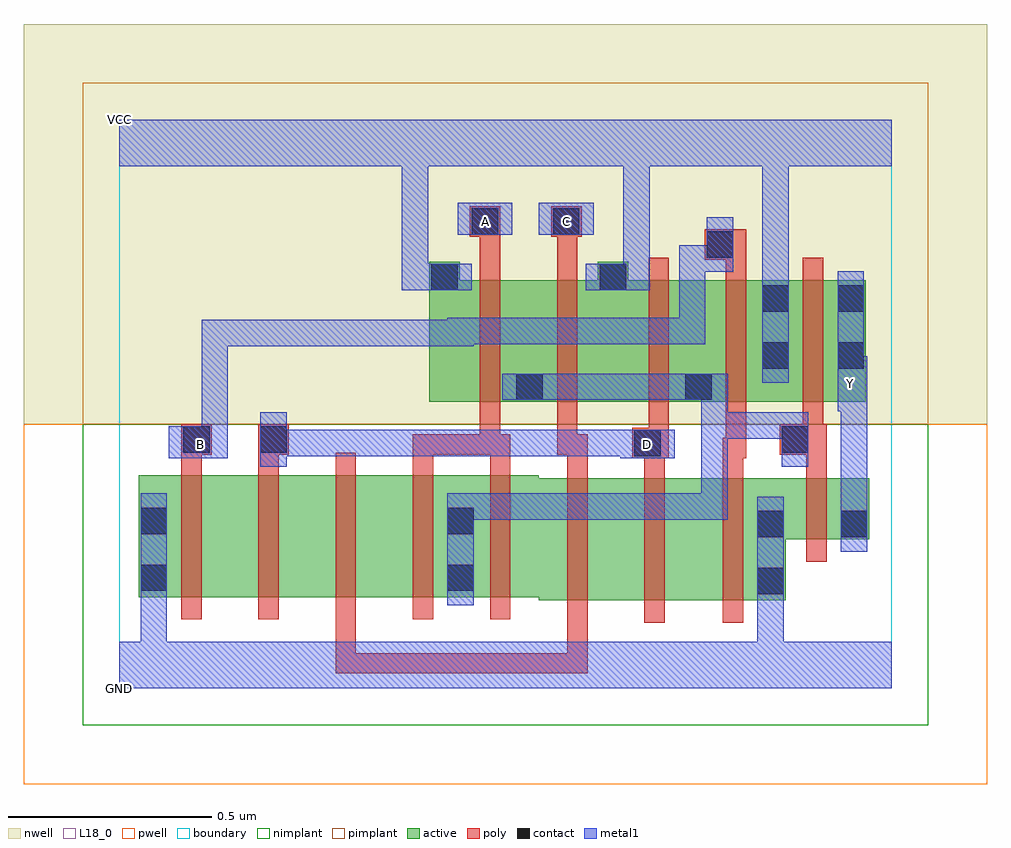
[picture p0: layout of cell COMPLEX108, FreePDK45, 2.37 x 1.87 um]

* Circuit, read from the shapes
.subckt COMPLEX108 A B C D GND VCC Y
M1 n1 B GND VSUBS nfet w=0.3u l=0.05u
M2 n2 D n1 VSUBS nfet w=0.3u l=0.05u
M3 n3 C n2 VSUBS nfet w=0.3u l=0.05u
M4 n4 A n3 VSUBS nfet w=0.3u l=0.05u
M5 n5 A n4 VSUBS nfet w=0.3u l=0.05u
M6 n6 C n5 VSUBS nfet w=0.3u l=0.05u
M7 n7 D n6 VSUBS nfet w=0.3u l=0.05u
M8 GND B n7 VSUBS nfet w=0.3u l=0.05u
M9 Y n4 GND VSUBS nfet w=0.15u l=0.05u
M10 n4 A VCC n8 pfet w=0.3u l=0.05u
M11 VCC C n4 n8 pfet w=0.3u l=0.05u
M12 n4 D VCC n8 pfet w=0.3u l=0.05u
M13 VCC B n4 n8 pfet w=0.3u l=0.05u
M14 Y n4 VCC n8 pfet w=0.3u l=0.05u
.ends

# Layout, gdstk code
import gdstk
lib = gdstk.Library(unit=1e-6, precision=1e-09)
def R(c, l, rs):  # rectangles x0, y0, x1, y1
    for r in rs: c.add(gdstk.rectangle(r[:2], r[2:], *l))
def A(c, l, x, y, w, h, nx, ny, dx, dy):  # array of equal rectangles
    R(c, l, [(x+i*dx, y+j*dy, x+i*dx+w, y+j*dy+h) for i in range(nx) for j in range(ny)])
active = (1, 0)
pwell = (2, 0)
nwell = (3, 0)
nimplant = (4, 0)
pimplant = (5, 0)
poly = (9, 0)
contact = (10, 0)
metal1 = (11, 0)
L18_0 = (18, 0)
boundary = (235, 0)

complex108 = lib.new_cell('COMPLEX108')
R(complex108, active, [(1.032,0.217,1.222,0.517), (1.222,0.217,1.412,0.517), (1.412,0.217,1.64,0.517), (1.565,0.217,1.64,0.442), (0.047,0.225,0.272,0.525), (0.272,0.225,0.462,0.525), (0.462,0.225,0.652,0.525), (0.652,0.225,0.877,0.525), (0.802,0.225,1.032,0.525), (0.802,0.225,0.877,0.517), (0.047,0.235,0.122,0.525), (1.565,0.367,1.845,0.517), (1.77,0.367,1.845,0.517), (0.762,0.705,1.047,1.005), (0.762,0.705,0.837,1.05), (0.972,0.705,1.252,1.005), (0.972,0.705,1.047,0.927), (1.177,0.705,1.462,1.005), (1.387,0.705,1.462,1.005), (1.387,0.705,1.652,1.005), (1.577,0.705,1.652,1.005), (1.577,0.705,1.837,1.005), (1.762,0.705,1.837,1.005), (1.177,0.835,1.252,1.05)])
R(complex108, pwell, [(-0.235,-0.235,2.135,0.65)])
R(complex108, nwell, [(-0.235,0.65,2.135,1.635)])
R(complex108, nimplant, [(-0.09,-0.09,1.99,0.65)])
R(complex108, pimplant, [(-0.09,0.65,1.99,1.49)])
A(complex108, poly, 0.152, 0.17, 0.05, 0.41, 5, 1, 0.19, 0)
A(complex108, poly, 1.302, 0.65, 0.05, 0.41, 3, 1, 0.19, 0)
R(complex108, poly, [(0.532,0.037,0.582,0.087), (0.532,0.037,0.715,0.087), (0.532,0.037,0.582,0.22), (0.665,0.037,0.715,0.087), (0.665,0.037,0.715,0.087), (0.665,0.037,0.715,0.087), (0.665,0.037,0.98,0.087), (0.93,0.037,0.98,0.087), (0.93,0.037,0.98,0.087), (0.93,0.037,0.98,0.087), (0.93,0.037,1.152,0.087), (1.102,0.037,1.152,0.212), (1.102,0.037,1.152,0.087), (1.102,0.037,1.152,0.087), (1.102,0.037,1.152,0.087), (1.102,0.162,1.152,0.572), (1.292,0.162,1.342,0.572), (1.485,0.162,1.535,0.572), (1.69,0.312,1.74,0.572), (1.102,0.522,1.152,0.625), (1.292,0.522,1.342,0.617), (1.485,0.522,1.535,0.617), (1.69,0.522,1.74,0.625), (0.152,0.53,0.202,0.625), (0.342,0.53,0.392,0.625), (0.722,0.53,0.772,0.625), (0.912,0.53,0.962,0.625), (1.262,0.567,1.352,0.642), (1.485,0.567,1.542,0.617), (1.492,0.567,1.542,0.7), (0.152,0.575,0.227,0.65), (0.342,0.575,0.417,0.65), (0.722,0.575,0.772,0.625), (0.722,0.575,0.937,0.625), (0.887,0.575,0.937,0.7), (0.887,0.575,0.962,0.625), (0.887,0.575,0.937,0.625), (0.887,0.575,0.937,0.625), (1.077,0.575,1.127,0.7), (1.077,0.575,1.152,0.625), (1.625,0.575,1.74,0.65), (1.302,0.592,1.352,0.7), (1.682,0.6,1.732,0.7), (0.887,0.65,0.937,1.06), (1.077,0.65,1.127,1.06), (0.887,1.01,0.937,1.162), (1.077,1.01,1.127,1.162), (1.492,1.01,1.542,1.105), (1.44,1.055,1.542,1.13), (0.862,1.112,0.937,1.187), (1.062,1.112,1.137,1.187)])
R(complex108, contact, [(1.57,0.232,1.635,0.297), (0.052,0.24,0.117,0.305), (0.807,0.24,0.872,0.305), (1.57,0.372,1.635,0.437), (1.775,0.372,1.84,0.437), (0.052,0.38,0.117,0.445), (0.807,0.38,0.872,0.445), (1.267,0.572,1.332,0.637), (0.157,0.58,0.222,0.645), (0.347,0.58,0.412,0.645), (1.63,0.58,1.695,0.645), (0.977,0.71,1.042,0.775), (1.392,0.71,1.457,0.775), (1.582,0.787,1.647,0.852), (1.767,0.787,1.832,0.852), (1.582,0.927,1.647,0.992), (1.767,0.927,1.832,0.992), (0.767,0.98,0.832,1.045), (1.182,0.98,1.247,1.045), (1.445,1.06,1.51,1.125), (0.867,1.117,0.932,1.182), (1.067,1.117,1.132,1.182)])
R(complex108, metal1, [(0,0,1.9,0.115), (0.052,0.05,0.117,0.115), (0.052,0.05,0.117,0.115), (0.052,0.05,0.117,0.27), (1.57,0.05,1.635,0.115), (1.57,0.05,1.635,0.115), (1.57,0.05,1.635,0.262), (1.57,0.197,1.635,0.262), (1.57,0.197,1.635,0.262), (1.57,0.197,1.635,0.472), (0.052,0.205,0.117,0.27), (0.052,0.205,0.117,0.27), (0.052,0.205,0.117,0.48), (0.807,0.205,0.872,0.48), (1.775,0.337,1.84,0.472), (1.775,0.407,1.84,0.747), (0.807,0.415,0.872,0.48), (0.807,0.415,0.872,0.48), (0.807,0.415,1.01,0.48), (0.945,0.415,1.01,0.48), (0.945,0.415,1.01,0.48), (0.945,0.415,1.01,0.48), (0.945,0.415,1.215,0.48), (1.15,0.415,1.215,0.48), (1.15,0.415,1.372,0.48), (1.307,0.415,1.372,0.48), (1.307,0.415,1.497,0.48), (1.432,0.415,1.497,0.48), (1.432,0.415,1.497,0.68), (0.347,0.545,0.412,0.68), (1.63,0.545,1.695,0.68), (0.122,0.567,0.267,0.645), (1.232,0.567,1.367,0.637), (0.347,0.572,0.412,0.637), (0.347,0.572,0.412,0.637), (0.347,0.572,0.55,0.637), (0.485,0.572,0.55,0.637), (0.485,0.572,0.55,0.637), (0.485,0.572,0.55,0.637), (0.485,0.572,0.687,0.637), (0.622,0.572,0.687,0.637), (0.622,0.572,0.825,0.637), (0.76,0.572,0.825,0.637), (0.76,0.572,0.825,0.637), (0.76,0.572,0.825,0.637), (0.76,0.572,1.075,0.637), (1.01,0.572,1.075,0.637), (1.01,0.572,1.075,0.637), (1.01,0.572,1.075,0.637), (1.01,0.572,1.215,0.637), (1.15,0.572,1.215,0.637), (1.15,0.572,1.297,0.637), (0.202,0.58,0.267,0.645), (0.202,0.58,0.267,0.645), (0.202,0.58,0.267,0.907), (1.432,0.615,1.497,0.68), (1.432,0.615,1.51,0.68), (1.432,0.615,1.497,0.775), (1.445,0.615,1.51,0.68), (1.445,0.615,1.695,0.68), (1.63,0.615,1.695,0.68), (1.63,0.615,1.695,0.68), (1.767,0.682,1.84,0.817), (0.942,0.71,1.077,0.775), (1.012,0.71,1.077,0.775), (1.012,0.71,1.077,0.775), (1.012,0.71,1.215,0.775), (1.15,0.71,1.215,0.775), (1.15,0.71,1.372,0.775), (1.307,0.71,1.372,0.775), (1.307,0.71,1.422,0.775), (1.357,0.71,1.497,0.775), (1.582,0.752,1.647,1.027), (1.767,0.752,1.832,0.817), (1.767,0.752,1.832,1.027), (0.202,0.842,0.267,0.907), (0.202,0.842,0.412,0.907), (0.347,0.842,0.412,0.907), (0.347,0.842,0.412,0.907), (0.347,0.842,0.412,0.907), (0.347,0.842,0.55,0.907), (0.485,0.842,0.55,0.907), (0.485,0.842,0.55,0.907), (0.485,0.842,0.55,0.907), (0.485,0.842,0.687,0.907), (0.622,0.842,0.687,0.907), (0.622,0.842,0.687,0.907), (0.622,0.842,0.687,0.907), (0.622,0.842,0.687,0.907), (0.622,0.842,0.687,0.907), (0.622,0.842,0.872,0.907), (0.807,0.842,0.872,0.912), (0.807,0.847,1.01,0.912), (0.945,0.847,1.01,0.912), (0.945,0.847,1.01,0.912), (0.945,0.847,1.01,0.912), (0.945,0.847,1.272,0.912), (1.207,0.847,1.272,0.912), (1.207,0.847,1.322,0.912), (1.257,0.847,1.322,0.912), (1.257,0.847,1.442,0.912), (1.377,0.847,1.442,0.912), (1.377,0.847,1.442,1.09), (1.582,0.962,1.647,1.35), (0.695,0.98,0.76,1.35), (0.695,0.98,0.867,1.045), (1.147,0.98,1.305,1.045), (1.24,0.98,1.305,1.35), (1.377,1.025,1.442,1.09), (1.377,1.025,1.442,1.09), (1.377,1.025,1.442,1.09), (1.377,1.025,1.51,1.09), (1.445,1.025,1.51,1.16), (0.832,1.117,0.967,1.195), (1.032,1.117,1.167,1.195), (0,1.285,1.9,1.4), (0.695,1.285,0.76,1.35), (0.695,1.285,0.76,1.35), (0.695,1.285,0.76,1.35), (0.695,1.285,0.76,1.35), (1.24,1.285,1.305,1.35), (1.24,1.285,1.305,1.35), (1.24,1.285,1.305,1.35), (1.24,1.285,1.305,1.35), (1.582,1.285,1.647,1.35), (1.582,1.285,1.647,1.35), (1.582,1.285,1.647,1.35), (1.582,1.285,1.647,1.35)])
R(complex108, L18_0, [(0,0,1.9,0.115), (0.052,0.05,0.117,0.115), (0.052,0.05,0.117,0.115), (0.052,0.05,0.117,0.27), (1.57,0.05,1.635,0.115), (1.57,0.05,1.635,0.115), (1.57,0.05,1.635,0.262), (1.57,0.197,1.635,0.262), (1.57,0.197,1.635,0.262), (1.57,0.197,1.635,0.472), (0.052,0.205,0.117,0.27), (0.052,0.205,0.117,0.27), (0.052,0.205,0.117,0.48), (1.775,0.337,1.84,0.472), (1.775,0.407,1.84,0.747), (0.347,0.545,0.412,0.68), (0.122,0.567,0.267,0.645), (0.167,0.567,0.232,0.632), (1.232,0.567,1.367,0.637), (1.267,0.567,1.332,0.632), (0.347,0.572,0.412,0.637), (0.347,0.572,0.412,0.637), (0.347,0.572,0.55,0.637), (0.485,0.572,0.55,0.637), (0.485,0.572,0.55,0.637), (0.485,0.572,0.55,0.637), (0.485,0.572,0.687,0.637), (0.622,0.572,0.687,0.637), (0.622,0.572,0.825,0.637), (0.76,0.572,0.825,0.637), (0.76,0.572,0.825,0.637), (0.76,0.572,0.825,0.637), (0.76,0.572,1.075,0.637), (1.01,0.572,1.075,0.637), (1.01,0.572,1.075,0.637), (1.01,0.572,1.075,0.637), (1.01,0.572,1.215,0.637), (1.15,0.572,1.215,0.637), (1.15,0.572,1.297,0.637), (0.202,0.58,0.267,0.645), (0.202,0.58,0.267,0.645), (0.202,0.58,0.267,0.907), (1.767,0.682,1.84,0.817), (1.767,0.717,1.832,0.782), (1.582,0.752,1.647,1.027), (1.767,0.752,1.832,0.817), (1.767,0.752,1.832,1.027), (0.202,0.842,0.267,0.907), (0.202,0.842,0.412,0.907), (0.347,0.842,0.412,0.907), (0.347,0.842,0.412,0.907), (0.347,0.842,0.412,0.907), (0.347,0.842,0.55,0.907), (0.485,0.842,0.55,0.907), (0.485,0.842,0.55,0.907), (0.485,0.842,0.55,0.907), (0.485,0.842,0.687,0.907), (0.622,0.842,0.687,0.907), (0.622,0.842,0.687,0.907), (0.622,0.842,0.687,0.907), (0.622,0.842,0.687,0.907), (0.622,0.842,0.687,0.907), (0.622,0.842,0.872,0.907), (0.807,0.842,0.872,0.912), (0.807,0.847,1.01,0.912), (0.945,0.847,1.01,0.912), (0.945,0.847,1.01,0.912), (0.945,0.847,1.01,0.912), (0.945,0.847,1.272,0.912), (1.207,0.847,1.272,0.912), (1.207,0.847,1.322,0.912), (1.257,0.847,1.322,0.912), (1.257,0.847,1.442,0.912), (1.377,0.847,1.442,0.912), (1.377,0.847,1.442,1.09), (1.582,0.962,1.647,1.35), (0.695,0.98,0.867,1.045), (0.695,0.98,0.76,1.35), (1.147,0.98,1.305,1.045), (1.24,0.98,1.305,1.35), (1.377,1.025,1.442,1.09), (1.377,1.025,1.442,1.09), (1.377,1.025,1.442,1.09), (1.377,1.025,1.51,1.09), (1.445,1.025,1.51,1.16), (0.832,1.117,0.967,1.195), (0.867,1.117,0.932,1.182), (1.032,1.117,1.167,1.195), (1.067,1.117,1.132,1.182), (0,1.285,1.9,1.4), (0.695,1.285,0.76,1.35), (0.695,1.285,0.76,1.35), (0.695,1.285,0.76,1.35), (0.695,1.285,0.76,1.35), (1.24,1.285,1.305,1.35), (1.24,1.285,1.305,1.35), (1.24,1.285,1.305,1.35), (1.24,1.285,1.305,1.35), (1.582,1.285,1.647,1.35), (1.582,1.285,1.647,1.35), (1.582,1.285,1.647,1.35), (1.582,1.285,1.647,1.35)])
R(complex108, boundary, [(0,0,1.9,1.4)])
complex108.add(gdstk.Label('A', (0.9,1.15), layer=11, texttype=0))
complex108.add(gdstk.Label('B', (0.2,0.6), layer=11, texttype=0))
complex108.add(gdstk.Label('C', (1.1,1.15), layer=11, texttype=0))
complex108.add(gdstk.Label('D', (1.3,0.6), layer=11, texttype=0))
complex108.add(gdstk.Label('Y', (1.8,0.75), layer=11, texttype=0))
complex108.add(gdstk.Label('VCC', (0,1.4), layer=11, texttype=0))
complex108.add(gdstk.Label('GND', (0,0), layer=11, texttype=0))

lib.write_gds('COMPLEX108.gds')
